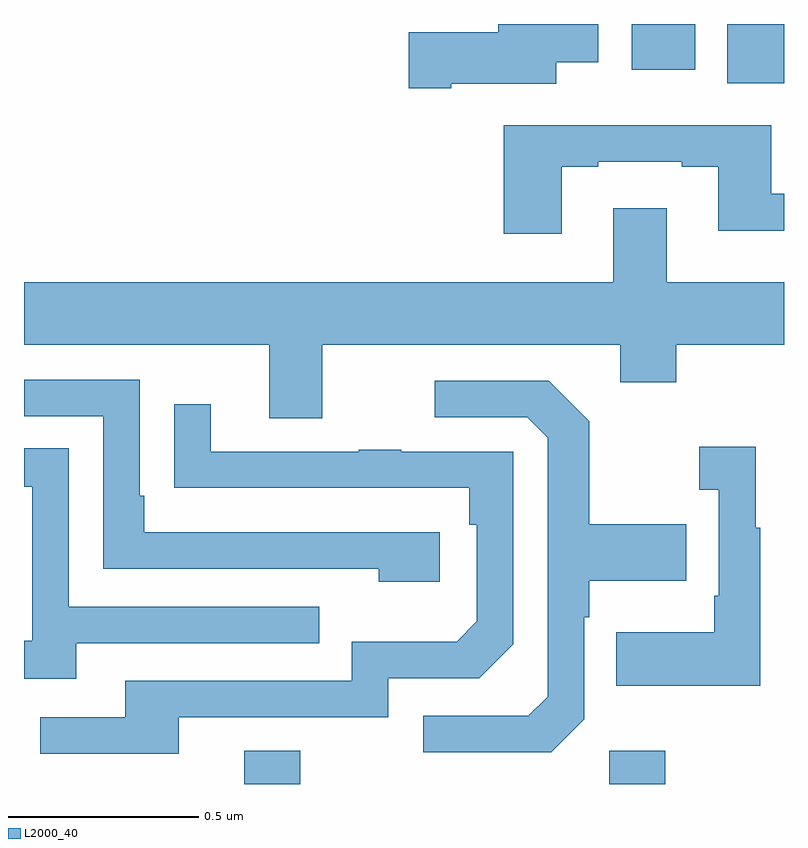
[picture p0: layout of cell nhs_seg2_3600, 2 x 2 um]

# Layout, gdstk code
import gdstk
lib = gdstk.Library(unit=1e-6, precision=1e-09)
def R(c, l, rs):  # rectangles x0, y0, x1, y1
    for r in rs: c.add(gdstk.rectangle(r[:2], r[2:], *l))
def P(c, l, *ps):  # polygons
    for p in ps: c.add(gdstk.Polygon(p, *l))
L2000_40 = (2000, 40)

nhs_seg2_3600 = lib.new_cell('nhs_seg2_3600')
R(nhs_seg2_3600, L2000_40, [(155.579,659.8,155.727,659.887), (156.54,659.8,156.687,659.887), (156.851,661.644,157,661.8), (156.599,661.68,156.766,661.8)])
P(nhs_seg2_3600, L2000_40, [(156.124,661.643),(156.4,661.643),(156.4,661.7),(156.511,661.7),(156.511,661.8),(156.248,661.8),(156.248,661.778),(156.012,661.778),(156.012,661.631),(156.124,661.631)],
  [(156.415,661.425),(156.511,661.425),(156.511,661.437),(156.731,661.437),(156.731,661.425),(156.827,661.425),(156.827,661.256),(157,661.256),(157,661.353),(156.967,661.353),(156.967,661.534),(156.263,661.534),(156.263,661.248),(156.415,661.248)],
  [(155.785,660.956),(156.569,660.956),(156.569,660.857),(156.717,660.857),(156.717,660.956),(157,660.956),(157,661.12),(156.691,661.12),(156.691,661.315),(156.551,661.315),(156.551,661.12),(155,661.12),(155,660.956),(155.645,660.956),(155.645,660.762),(155.785,660.762)],
  [(156.094,660.462),(155.317,660.462),(155.317,660.559),(155.304,660.559),(155.304,660.864),(155,660.864),(155,660.768),(155.208,660.768),(155.208,660.366),(155.933,660.366),(155.933,660.332),(156.094,660.332)],
  [(156.474,659.97),(156.474,660.239),(156.487,660.239),(156.487,660.335),(156.743,660.335),(156.743,660.483),(156.487,660.483),(156.487,660.755),(156.381,660.861),(156.081,660.861),(156.081,660.765),(156.324,660.765),(156.378,660.711),(156.378,660.03),(156.327,659.979),(156.051,659.979),(156.051,659.883),(156.387,659.883)],
  [(155.407,659.976),(155.958,659.976),(155.958,660.078),(156.198,660.078),(156.288,660.168),(156.288,660.675),(155.993,660.675),(155.993,660.68),(155.881,660.68),(155.881,660.675),(155.491,660.675),(155.491,660.799),(155.395,660.799),(155.395,660.58),(155.497,660.58),(155.497,660.579),(156.172,660.579),(156.172,660.482),(156.192,660.482),(156.192,660.228),(156.139,660.175),(155.862,660.175),(155.862,660.072),(155.267,660.072),(155.267,659.976),(155.043,659.976),(155.043,659.88),(155.407,659.88)],
  [(156.937,660.475),(156.925,660.475),(156.925,660.688),(156.777,660.688),(156.777,660.575),(156.828,660.575),(156.828,660.295),(156.816,660.295),(156.816,660.199),(156.559,660.199),(156.559,660.059),(156.937,660.059)],
  [(155.137,660.171),(155.777,660.171),(155.777,660.267),(155.118,660.267),(155.118,660.683),(155,660.683),(155,660.582),(155.022,660.582),(155.022,660.177),(155,660.177),(155,660.077),(155.137,660.077)])

lib.write_gds('nhs_seg2_3600.gds')
